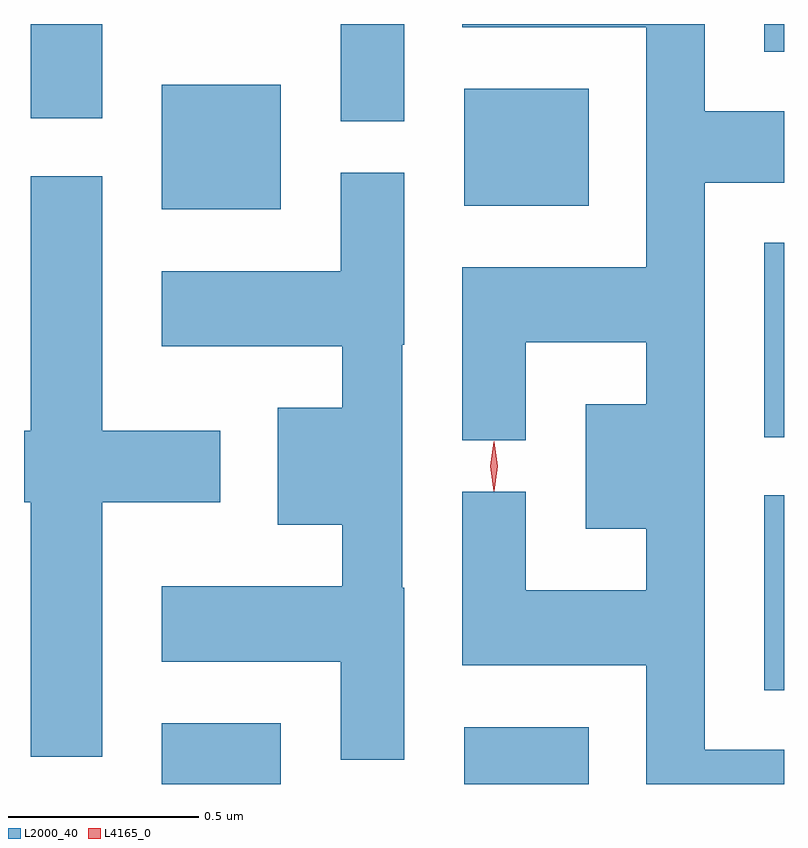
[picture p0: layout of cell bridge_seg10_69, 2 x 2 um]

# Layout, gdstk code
import gdstk
lib = gdstk.Library(unit=1e-6, precision=1e-09)
def R(c, l, rs):  # rectangles x0, y0, x1, y1
    for r in rs: c.add(gdstk.rectangle(r[:2], r[2:], *l))
def P(c, l, *ps):  # polygons
    for p in ps: c.add(gdstk.Polygon(p, *l))
L2000_40 = (2000, 40)
L4165_0 = (4165, 0)

bridge_seg10_69 = lib.new_cell('bridge_seg10_69')
R(bridge_seg10_69, L2000_40, [(1624.131,2170.014,1624.444,2170.174), (1624.926,2170.014,1625.254,2170.164), (1625.716,2170.261,1625.768,2170.774), (1625.716,2170.926,1625.768,2171.439), (1624.131,2171.526,1624.444,2171.854), (1624.926,2171.536,1625.254,2171.844), (1624.601,2171.758,1624.769,2172.014), (1623.786,2171.766,1623.974,2172.014), (1625.716,2171.941,1625.768,2172.014)])
P(bridge_seg10_69, L2000_40, [(1625.768,2170.104),(1625.559,2170.104),(1625.559,2171.596),(1625.768,2171.596),(1625.768,2171.784),(1625.559,2171.784),(1625.559,2172.014),(1624.921,2172.014),(1624.921,2172.006),(1625.406,2172.006),(1625.406,2171.374),(1624.921,2171.374),(1624.921,2170.918),(1625.089,2170.918),(1625.089,2171.176),(1625.406,2171.176),(1625.406,2171.014),(1625.246,2171.014),(1625.246,2170.686),(1625.406,2170.686),(1625.406,2170.524),(1625.089,2170.524),(1625.089,2170.783),(1624.921,2170.783),(1624.921,2170.326),(1625.406,2170.326),(1625.406,2170.014),(1625.768,2170.014)],
  [(1624.769,2170.53),(1624.764,2170.53),(1624.764,2171.17),(1624.769,2171.17),(1624.769,2171.623),(1624.601,2171.623),(1624.601,2171.364),(1624.131,2171.364),(1624.131,2171.166),(1624.606,2171.166),(1624.606,2171.004),(1624.436,2171.004),(1624.436,2170.696),(1624.606,2170.696),(1624.606,2170.534),(1624.131,2170.534),(1624.131,2170.336),(1624.601,2170.336),(1624.601,2170.078),(1624.769,2170.078)],
  [(1623.974,2170.756),(1624.284,2170.756),(1624.284,2170.944),(1623.974,2170.944),(1623.974,2171.614),(1623.786,2171.614),(1623.786,2170.944),(1623.768,2170.944),(1623.768,2170.756),(1623.786,2170.756),(1623.786,2170.086),(1623.974,2170.086)])
P(bridge_seg10_69, L4165_0, [(1625.005,2170.784),(1625.004,2170.785),(1624.995,2170.85),(1625.004,2170.915),(1625.005,2170.916),(1625.005,2170.915),(1625.015,2170.85),(1625.005,2170.785)])

lib.write_gds('bridge_seg10_69.gds')
